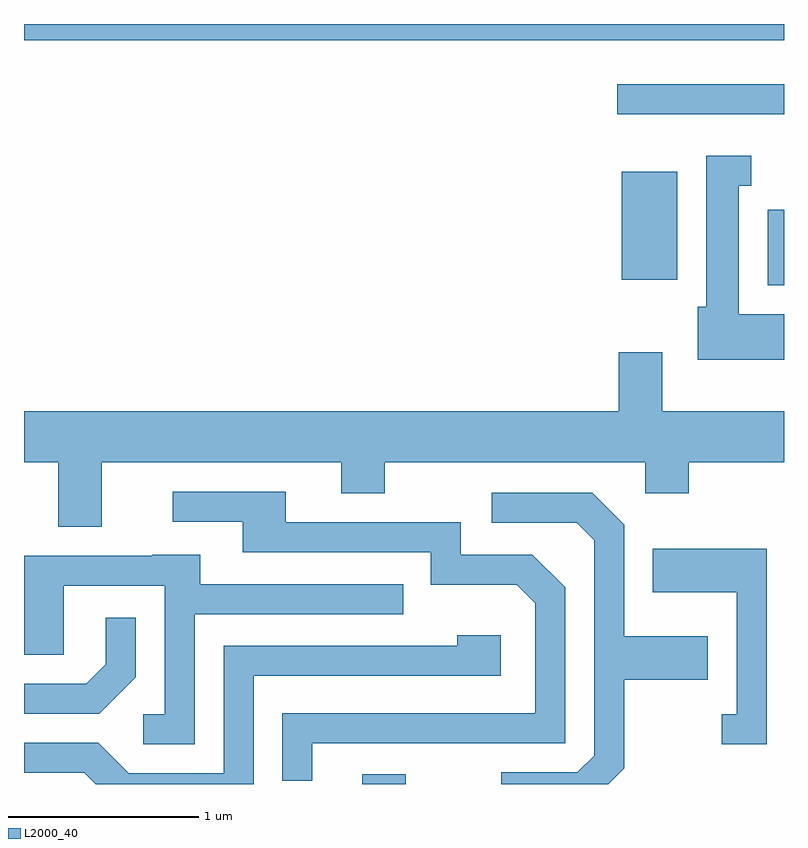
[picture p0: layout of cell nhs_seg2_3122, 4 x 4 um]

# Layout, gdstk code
import gdstk
lib = gdstk.Library(unit=1e-6, precision=1e-09)
def R(c, l, rs):  # rectangles x0, y0, x1, y1
    for r in rs: c.add(gdstk.rectangle(r[:2], r[2:], *l))
def P(c, l, *ps):  # polygons
    for p in ps: c.add(gdstk.Polygon(p, *l))
L2000_40 = (2000, 40)

nhs_seg2_3122 = lib.new_cell('nhs_seg2_3122')
R(nhs_seg2_3122, L2000_40, [(279.391,977.802,279.619,977.854), (281.526,980.426,281.611,980.824), (280.756,980.456,281.049,981.024), (280.733,981.326,281.611,981.484), (277.611,981.716,281.611,981.802)])
P(nhs_seg2_3122, L2000_40, [(281.611,980.274),(281.374,980.274),(281.374,980.951),(281.438,980.951),(281.438,981.109),(281.201,981.109),(281.201,980.314),(281.156,980.314),(281.156,980.036),(281.611,980.036)],
  [(278.019,979.496),(279.281,979.496),(279.281,979.331),(279.509,979.331),(279.509,979.496),(280.881,979.496),(280.881,979.331),(281.109,979.331),(281.109,979.496),(281.611,979.496),(281.611,979.764),(280.969,979.764),(280.969,980.074),(280.741,980.074),(280.741,979.764),(277.611,979.764),(277.611,979.496),(277.791,979.496),(277.791,979.156),(278.019,979.156)],
  [(279.129,978.016),(280.459,978.016),(280.459,978.837),(280.287,979.009),(279.909,979.009),(279.909,979.179),(278.989,979.179),(278.989,979.339),(278.393,979.339),(278.393,979.181),(278.761,979.181),(278.761,979.021),(279.751,979.021),(279.751,978.851),(280.204,978.851),(280.301,978.754),(280.301,978.174),(278.971,978.174),(278.971,977.818),(279.129,977.818)],
  [(280.769,977.884),(280.769,978.351),(281.209,978.351),(281.209,978.579),(280.769,978.579),(280.769,979.167),(280.602,979.334),(280.073,979.334),(280.073,979.176),(280.519,979.176),(280.611,979.084),(280.611,977.952),(280.524,977.864),(280.123,977.864),(280.123,977.802),(280.687,977.802)],
  [(281.519,979.039),(280.921,979.039),(280.921,978.811),(281.361,978.811),(281.361,978.169),(281.283,978.169),(281.283,978.011),(281.519,978.011)],
  [(278.509,978.696),(279.608,978.696),(279.608,978.854),(278.539,978.854),(278.539,979.009),(278.285,979.009),(278.285,979.004),(277.611,979.004),(277.611,978.481),(277.819,978.481),(277.819,978.846),(278.351,978.846),(278.351,978.169),(278.238,978.169),(278.238,978.011),(278.509,978.011)],
  [(278.199,978.364),(278.199,978.678),(278.041,978.678),(278.041,978.432),(277.939,978.329),(277.611,978.329),(277.611,978.171),(278.007,978.171)],
  [(278.819,978.371),(280.119,978.371),(280.119,978.584),(279.891,978.584),(279.891,978.529),(278.661,978.529),(278.661,977.859),(278.162,977.859),(278.002,978.019),(277.611,978.019),(277.611,977.861),(277.929,977.861),(277.988,977.802),(278.819,977.802)])

lib.write_gds('nhs_seg2_3122.gds')
